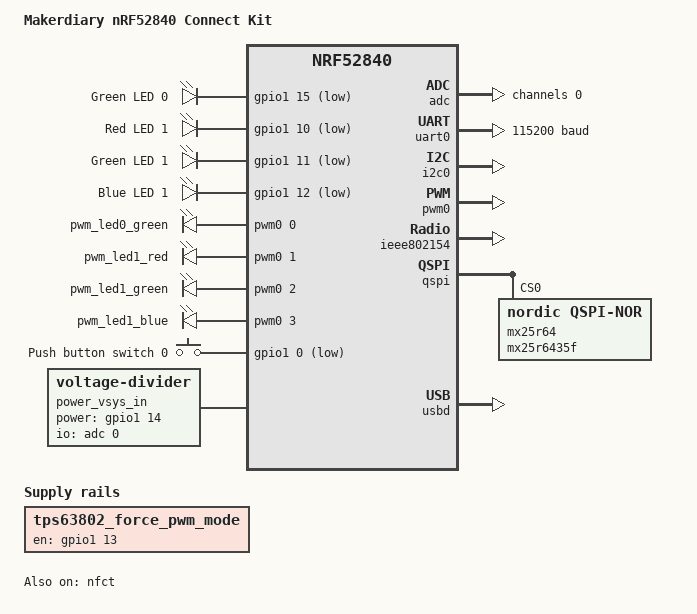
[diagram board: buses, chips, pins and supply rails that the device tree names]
/*
 * Copyright (c) 2016-2023 Makerdiary
 *
 * SPDX-License-Identifier: Apache-2.0
 */

/dts-v1/;
#include <nordic/nrf52840_qiaa.dtsi>
#include "connectkit_nrf52840-pinctrl.dtsi"

/ {
    model = "Makerdiary nRF52840 Connect Kit";
    compatible = "nordic,connectkit-nrf52840";

    chosen {
        zephyr,console = &uart0;
        zephyr,shell-uart = &uart0;
        zephyr,uart-mcumgr = &uart0;
        zephyr,bt-mon-uart = &uart0;
        zephyr,bt-c2h-uart = &uart0;
        zephyr,sram = &sram0;
        zephyr,flash = &flash0;
        zephyr,code-partition = &slot0_partition;
        zephyr,ieee802154 = &ieee802154;
    };

    leds {
        compatible = "gpio-leds";
        led0_green: led_0 {
            gpios = <&gpio1 15 GPIO_ACTIVE_LOW>;
            label = "Green LED 0";
        };
        led1_red: led_1 {
            gpios = <&gpio1 10 GPIO_ACTIVE_LOW>;
            label = "Red LED 1";
        };
        led1_green: led_2 {
            gpios = <&gpio1 11 GPIO_ACTIVE_LOW>;
            label = "Green LED 1";
        };
        led1_blue: led_3 {
            gpios = <&gpio1 12 GPIO_ACTIVE_LOW>;
            label = "Blue LED 1";
        };
    };

    pwmleds {
        compatible = "pwm-leds";
        pwm_led0_green: pwm_led_0 {
            pwms = <&pwm0 0 PWM_MSEC(20) PWM_POLARITY_INVERTED>;
        };        
        pwm_led1_red: pwm_led_1 {
            pwms = <&pwm0 1 PWM_MSEC(20) PWM_POLARITY_INVERTED>;
        };
        pwm_led1_green: pwm_led_2 {
            pwms = <&pwm0 2 PWM_MSEC(20) PWM_POLARITY_INVERTED>;
        };
        pwm_led1_blue: pwm_led_3 {
            pwms = <&pwm0 3 PWM_MSEC(20) PWM_POLARITY_INVERTED>;
        };
    };

    buttons {
        compatible = "gpio-keys";
        button0: button_0 {
            gpios = <&gpio1 0 (GPIO_PULL_UP | GPIO_ACTIVE_LOW)>;
            label = "Push button switch 0";
        };
    };

    tps63802_force_pwm_mode: tps63802_force_pwm_mode {
        compatible = "regulator-fixed-sync", "regulator-fixed";
        regulator-name = "tps63802_force_pwm_mode";
        enable-gpios = <&gpio1 13 GPIO_ACTIVE_HIGH>;
        status = "okay";
        regulator-boot-on;
    };

    power_vsys_in {
        compatible = "voltage-divider";
        io-channels = <&adc 0>;
        output-ohms = <100000>;
        full-ohms = <(1000000 + 100000)>;
        power-gpios = <&gpio1 14 0>;
    };

    /* These aliases are provided for compatibility with samples */
    aliases {
        sw0 = &button0;
        led0 = &led0_green;
        led1 = &led1_red;
        led2 = &led1_green;
        led3 = &led1_blue;
        led0-green   = &led0_green;
        led1-red = &led1_red;
        led1-green  = &led1_green;
        led1-blue = &led1_blue;
        pwm-led0 = &pwm_led0_green;
        pwm-led1 = &pwm_led1_red;
        pwm-led2 = &pwm_led1_green;
        pwm-led3 = &pwm_led1_blue;
        red-pwm-led = &pwm_led1_red;
        green-pwm-led = &pwm_led1_green;
        blue-pwm-led = &pwm_led1_blue;
        mcuboot-button0 = &button0;
        mcuboot-led0 = &led0_green;
        watchdog0 = &wdt0;
        spi-flash0 = &mx25r64;
    };
};

&adc {
    status = "okay";
    #address-cells = <1>;
    #size-cells = <0>;

    channel@0 {
        reg = <0>;
        zephyr,gain = "ADC_GAIN_1_4";
        zephyr,reference = "ADC_REF_INTERNAL";
        zephyr,acquisition-time = <ADC_ACQ_TIME(ADC_ACQ_TIME_MICROSECONDS, 40)>;
        zephyr,input-positive = <NRF_SAADC_AIN0>; /* P0.02 */
        zephyr,resolution = <12>;
        zephyr,oversampling = <4>;
    };
};

&gpiote {
    status = "okay";
};

&gpio0 {
    status = "okay";
};

&gpio1 {
    status = "okay";
};

&uart0 {
    status = "okay";
    compatible = "nordic,nrf-uarte";
    current-speed = <115200>;
    pinctrl-0 = <&uart0_default>;
    pinctrl-1 = <&uart0_sleep>;
    pinctrl-names = "default", "sleep";
};

&i2c0 {
    compatible = "nordic,nrf-twi";
    status = "okay";
    pinctrl-0 = <&i2c0_default>;
    pinctrl-1 = <&i2c0_sleep>;
    pinctrl-names = "default", "sleep";
};

&pwm0 {
    status = "okay";
    pinctrl-0 = <&pwm0_default>;
    pinctrl-1 = <&pwm0_sleep>;
    pinctrl-names = "default", "sleep";
};

&nfct {
    status = "okay";
};

&ieee802154 {
    status = "okay";
};

&qspi {
    status = "okay";
    pinctrl-0 = <&qspi_default>;
    pinctrl-1 = <&qspi_sleep>;
    pinctrl-names = "default", "sleep";
    mx25r64: mx25r6435f@0 {
        compatible = "nordic,qspi-nor";
        reg = <0>;
        writeoc = "pp4io";
        readoc = "read4io";
        sck-frequency = <32000000>;
        jedec-id = [c2 28 17];
        sfdp-bfp = [
            e5 20 f1 ff  ff ff ff 03  44 eb 08 6b  08 3b 04 bb
            ee ff ff ff  ff ff 00 ff  ff ff 00 ff  0c 20 0f 52
            10 d8 00 ff  23 72 f5 00  82 ed 04 cc  44 83 68 44
            30 b0 30 b0  f7 c4 d5 5c  00 be 29 ff  f0 d0 ff ff
        ];
        size = <67108864>;
        has-dpd;
        t-enter-dpd = <10000>;
        t-exit-dpd = <35000>;
    };
};

/* Include flash partition table.
 * fstab-uf2-bootloader -compatible with UF2 bootloader, default
 */
#include "fstab-uf2-bootloader.dts"

zephyr_udc0: &usbd {
    compatible = "nordic,nrf-usbd";
    status = "okay";
};
